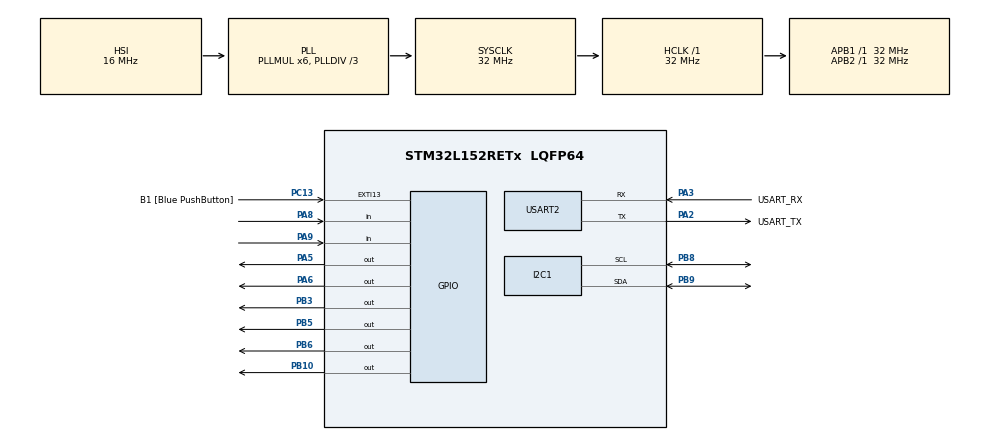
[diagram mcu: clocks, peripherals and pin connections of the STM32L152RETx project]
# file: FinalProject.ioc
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Mcu.Family=STM32L1
Mcu.Name=STM32L152RETx
Mcu.Package=LQFP64
NVIC.EXTI15_10_IRQn=true\:0\:0\:false\:false\:true\:true\:true\:true
NVIC.I2C1_ER_IRQn=true\:0\:0\:false\:false\:true\:true\:true\:true
NVIC.I2C1_EV_IRQn=true\:0\:0\:false\:false\:true\:true\:true\:true
NVIC.PriorityGroup=NVIC_PRIORITYGROUP_0
NVIC.TIM3_IRQn=true\:0\:0\:false\:false\:true\:true\:true\:true
PA13.GPIO_Label=TMS
PA13.Mode=Serial_Wire
PA13.Signal=SYS_JTMS-SWDIO
PA14.GPIO_Label=TCK
PA14.Mode=Serial_Wire
PA14.Signal=SYS_JTCK-SWCLK
PA2.GPIO_Label=USART_TX
PA2.Mode=Asynchronous
PA2.Signal=USART2_TX
PA3.GPIO_Label=USART_RX
PA3.Mode=Asynchronous
PA3.Signal=USART2_RX
PA5.GPIO_PuPd=GPIO_PULLUP
PA5.Signal=GPIO_Output
PA6.Signal=GPIO_Output
PA8.GPIO_PuPd=GPIO_PULLDOWN
PA8.Signal=GPIO_Input
PA9.GPIO_PuPd=GPIO_PULLDOWN
PA9.Signal=GPIO_Input
PB10.Signal=GPIO_Output
PB3.Signal=GPIO_Output
PB5.Signal=GPIO_Output
PB6.Signal=GPIO_Output
PB8.GPIO_Pu=GPIO_NOPULL
PB8.Mode=I2C
PB8.Signal=I2C1_SCL
PB9.GPIO_Pu=GPIO_NOPULL
PB9.Mode=I2C
PB9.Signal=I2C1_SDA
PC13-WKUP2.GPIO_Label=B1 [Blue PushButton]
PC13-WKUP2.Signal=GPXTI13
PC14-OSC32_IN.Mode=LSE-External-Oscillator
PC14-OSC32_IN.Signal=RCC_OSC32_IN
PC15-OSC32_OUT.Mode=LSE-External-Oscillator
PC15-OSC32_OUT.Signal=RCC_OSC32_OUT
PH0-OSC_IN.Mode=HSE-External-Clock-Source
PH0-OSC_IN.Signal=RCC_OSC_IN
PH1-OSC_OUT.Signal=RCC_OSC_OUT
ProjectManager.HeapSize=0x200
ProjectManager.StackSize=0x400
ProjectManager.TargetToolchain=STM32CubeIDE
RCC.48MHZClocksFreq_Value=48000000
RCC.AHBFreq_Value=32000000
RCC.APB1Freq_Value=32000000
RCC.APB1TimFreq_Value=32000000
RCC.APB2Freq_Value=32000000
RCC.APB2TimFreq_Value=32000000
RCC.HCLKFreq_Value=32000000
RCC.HSE_VALUE=8000000
RCC.HSI_VALUE=16000000
RCC.MSI_VALUE=2097000
RCC.PLLDIV=RCC_PLL_DIV3
RCC.PLLMUL=RCC_PLL_MUL6
RCC.RTCClockSelectionVirtual=RCC_RTCCLKSOURCE_LSE
RCC.SYSCLKFreq_VALUE=32000000
RCC.SYSCLKSource=RCC_SYSCLKSOURCE_PLLCLK
RCC.USBOutput=48000000
RCC.VCOOutputFreq_Value=96000000
TIM3.Prescaler=31
USART2.VirtualMode=VM_ASYNC
VP_TIM3_VS_ClockSourceINT.Mode=Internal
board=NUCLEO-L152RE

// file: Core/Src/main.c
/* USER CODE BEGIN Header */
// @author Tristan Huynh
/* USER CODE END Header */
#include "main.h"

/* USER CODE BEGIN Includes */
#include "dht22.h"
#include "rgb_led.h"
#include <stdio.h>
#include <string.h>

#include "ssd1306.h"
#include "ssd1306_fonts.h"
#include "fan_control.h"
/* USER CODE END Includes */

I2C_HandleTypeDef hi2c1;

TIM_HandleTypeDef htim3;

UART_HandleTypeDef huart2;

/* USER CODE BEGIN PV */
#define GRAPH_HISTORY 120  // Number of data points to store
#define SERIAL_INTERVAL 30000 // 5 sconds
#define DATA_COLLECTION_INERVAL 30000 // 5 seconds
#define BLINK_INTERVAL 500  // 500ms blink interval

#define ALERT_TEMPERATURE_THRESHOLD 25.0f
#define ALERT_HUMIDITY_THRESHOLD 50.0f

float temp_history[GRAPH_HISTORY] = {0};
float humid_history[GRAPH_HISTORY] = {0};
uint8_t temp_index = 0;
uint8_t humid_index = 0;

uint8_t fan_status = 0;
uint8_t temperature_threshold = 20;
uint8_t humidity_threshold = 50;
uint8_t fan_speed = 0; // 0-100% // might need to be removed
uint8_t alert_condition = 0; // 0 = no alert, 1 = temp alert, 2 = humidity alert
uint8_t led_state = 0;

uint32_t last_serial_transmission = 0;
uint32_t last_data_collection = 0;

uint32_t last_blink_time = 0;
uint8_t blink_state = 0;

uint8_t led_override = 0; // 0 = normal, 1 = force off

volatile  uint8_t screen = 0;
/* USER CODE END PV */

void SystemClock_Config(void);
static void MX_GPIO_Init(void);
static void MX_USART2_UART_Init(void);
static void MX_I2C1_Init(void);
static void MX_TIM3_Init(void);

/* USER CODE BEGIN 0 */
void drawLineGraph(float* data, uint8_t length, uint8_t y_offset, uint8_t graph_height, float min_val, float max_val) {
    uint8_t y_axis_x = 22;  // Leave 22 pixels for labels
    uint8_t x_axis_y = y_offset + graph_height - 1;

    // x-axis
    for(int i = y_axis_x; i < 128; i++) {
      ssd1306_DrawPixel(i, x_axis_y, White);
    }

    // y-axis
    for(int i = y_offset; i < y_offset + graph_height; i++) {
      ssd1306_DrawPixel(y_axis_x, i, White);
    }

    char label[6];
    uint8_t num_ticks = 5;

    for(uint8_t i = 0; i < num_ticks; i++) {
      float value = max_val - (i * (max_val - min_val) / (num_ticks - 1));
      uint8_t tick_y = y_offset + (i * (graph_height - 1) / (num_ticks - 1));

      // draw tick mark
      ssd1306_Line(y_axis_x - 2, tick_y, y_axis_x, tick_y, White);

      int value_int = (int)value;
      sprintf(label, "%d", value_int);

      // ensure label doesn't go above screen bounds
      uint8_t label_y = tick_y;
      if (label_y < 4) label_y = 4;
      if (label_y > 60) label_y = 60;

      ssd1306_SetCursor(0, label_y - 4);
      ssd1306_WriteString(label, Font_6x8, White);
    }

    // Calculate X scaling
    float x_scale = (128.0f - y_axis_x - 1) / (length - 1);

    // only if we have valid data
    for(int i = 0; i < length - 1; i++) {
        if (data[i] == 0.0f && data[i+1] == 0.0f) continue; // skip if no data

        uint8_t y1 = y_offset + graph_height - 2 - (uint8_t)((data[i] - min_val) / (max_val - min_val) * (graph_height - 3));
        uint8_t y2 = y_offset + graph_height - 2 - (uint8_t)((data[i+1] - min_val) / (max_val - min_val) * (graph_height - 3));

        uint8_t x1 = y_axis_x + (uint8_t)(i * x_scale);
        uint8_t x2 = y_axis_x + (uint8_t)((i + 1) * x_scale);

        // Clamp Y values
        if (y1 < y_offset) y1 = y_offset;
        if (y1 >= y_offset + graph_height) y1 = y_offset + graph_height - 1;
        if (y2 < y_offset) y2 = y_offset;
        if (y2 >= y_offset + graph_height) y2 = y_offset + graph_height - 1;

        ssd1306_Line(x1, y1, x2, y2, White);
    }
}

void sendDataUART(float temperature, float humidity, uint8_t fan_status, uint8_t alert_condition) {
  char tx_buffer[256];
  uint32_t timestamp = HAL_GetTick();
  int temp_int = (int)temperature;
  int temp_dec = (int)((temperature - temp_int) * 100);
  int humid_int = (int)humidity;
  int humid_dec = (int)((humidity - humid_int) * 100);

  sprintf(tx_buffer, "{\"timestamp\":%lu,\"temperature\":%d.%02d,\"humidity\":%d.%02d,\"fan_status\":%d,\"alert_condition\":%d}\r\n",
    timestamp, temp_int, temp_dec, humid_int, humid_dec, fan_status, alert_condition);

  HAL_UART_Transmit(&huart2, (uint8_t*)tx_buffer, strlen(tx_buffer), 1000);
}

void collectSensorData(float temperature, float humidity) {
  if (temperature != -999.0f && humidity != -999.0f) {

    temp_history[temp_index] = temperature;
    humid_history[humid_index] = humidity;
  }
  temp_index = (temp_index + 1) % GRAPH_HISTORY;
  humid_index = (humid_index + 1) % GRAPH_HISTORY;
}
/* USER CODE END 0 */

int main(void)
{

  /* MCU Configuration--------------------------------------------------------*/

  /* Reset of all peripherals, Initializes the Flash interface and the Systick. */
  HAL_Init();

  /* Configure the system clock */
  SystemClock_Config();

  /* Initialize all configured peripherals */
  MX_GPIO_Init();
  MX_USART2_UART_Init();
  MX_I2C1_Init();
  MX_TIM3_Init();
  /* USER CODE BEGIN 2 */
  // HAL_TIM_PWM_Start(&htim3, TIM_CHANNEL_1);
  HAL_TIM_Base_Start(&htim3);

  RGB_Init();
  DHT22_Init(&htim3);
  FAN_Init();

  // TODO: Remove when done debugging
  uint8_t found_devices = 0;
  for(uint8_t addr = 0; addr < 128; addr++) {
      if (HAL_I2C_IsDeviceReady(&hi2c1, (addr << 1), 3, 100) == HAL_OK) {
          // Device found - blink green once
          RGB_SetRGB(0, 255, 0);
          HAL_Delay(500);
          RGB_SetRGB(0, 0, 0);
          HAL_Delay(500);
          found_devices++;
      }
  }
  if (found_devices == 0) {
      for(int i = 0; i < 5; i++) {
          RGB_SetRGB(255, 0, 0);
          HAL_Delay(200);
          RGB_SetRGB(0, 0, 0);
          HAL_Delay(200);
      }
  }

  ssd1306_Init();
  HAL_Delay(2000);

  // initalize motor controller code
  // HAL_GPIO_WritePin(GPIOC, GPIO_PIN_3, GPIO_PIN_SET);    // IN1 = HIGH PC7
  // HAL_GPIO_WritePin(GPIOA, GPIO_PIN_10, GPIO_PIN_RESET);  // IN2 = LOW PA9

  // HAL_GPIO_WritePin(GPIOA, GPIO_PIN_11, GPIO_PIN_SET);   // EN = HIGH PA11

  /* USER CODE END 2 */

  /* Infinite loop */
  while (1)
  {

    /* USER CODE BEGIN 3 */
    float temperature = 0.0f;
    float humidity = 0.0f;
    char buffer[32];
    uint32_t current_time = HAL_GetTick();

    DHT22_ReadData(&temperature, &humidity);
    // handle data collection
    if (current_time - last_data_collection >= DATA_COLLECTION_INERVAL) {
        collectSensorData(temperature, humidity);
        last_data_collection = current_time;
    }
    // handle blinking
    if (current_time - last_blink_time >= BLINK_INTERVAL) {
        blink_state = !blink_state;
        last_blink_time = current_time;
    }
    // alert states
    if (temperature > ALERT_TEMPERATURE_THRESHOLD && humidity > ALERT_HUMIDITY_THRESHOLD) {
        alert_condition = 3; // both
        fan_status = 1; // turn on fan
    } else if (temperature > ALERT_TEMPERATURE_THRESHOLD) {
        alert_condition = 1; // temp
        fan_status = 1; // turn on fan
    } else if (humidity > ALERT_HUMIDITY_THRESHOLD) {
        alert_condition = 2; // humidity
        fan_status = 1; // turn on fan
    } else {
        led_override = 0;
        alert_condition = 0; // no alert
        fan_status = 0; // turn off fan
    }

    // collect data in database
    if (current_time - last_serial_transmission >= SERIAL_INTERVAL) {
        if (temperature != -999.0f && humidity != -999.0f) {
            sendDataUART(temperature, humidity, fan_status, alert_condition);
        }
        last_serial_transmission = current_time;
    }

    // button advancing
    // if (HAL_GPIO_ReadPin(BUTTON_R_PORT, BUTTON_R_PIN) == GPIO_PIN_RESET) {
    //   screen++;
    //   if (screen > 4) {
    //     screen = 0;
    //   }
    // }
    // if (HAL_GPIO_ReadPin(BUTTON_L_PORT, BUTTON_L_PIN) == GPIO_PIN_RESET) {
    //   screen--;
    //   if (screen > 4) {
    //     screen = 4;
    //   }
    // }

    if ((HAL_GPIO_ReadPin(BUTTON_L_PORT, BUTTON_L_PIN) == GPIO_PIN_SET && HAL_GPIO_ReadPin(BUTTON_R_PORT, BUTTON_R_PIN) == GPIO_PIN_SET) && alert_condition > 0) {
      led_override = 1; // turn off LED
    }

    if (led_override == 1) {
       RGB_Off();
    } else {
      if (alert_condition > 0 && blink_state) {
        // if (alert_condition == 3 && blink_state) {
        // } else
        RGB_SetRGB(255, 0, 0); // red when blinking on
      } else if (alert_condition > 0 && !blink_state) {
        RGB_Off(); // off when blinking off
      } else {
        RGB_SetRGB(0, 255, 0); // green for normal
      }
    }

    // fan control
    if (fan_status == 1) {
      FAN_setSpeed(1); // full speed
    } else {
      FAN_setSpeed(0); // off
    }

    // screen displays
    if (screen == 0) {
      ssd1306_Fill(Black);
      ssd1306_SetCursor(0, 0);
      ssd1306_WriteString("1", Font_6x8, White);

      ssd1306_SetCursor(18, 0);
      ssd1306_WriteString("Current", Font_7x10, White);
        // use integers for display
      int temp_int = (int)temperature;
      int temp_dec = (int)((temperature - temp_int) * 10);
      int hum_int = (int)humidity;
      int hum_dec = (int)((humidity - hum_int) * 10);

      ssd1306_SetCursor(0, 15);
      if ((alert_condition == 1 || alert_condition == 3) && blink_state) {
        sprintf(buffer, "!TEMP: %d.%dC!", temp_int, temp_dec);
      } else {
        sprintf(buffer, "Temp: %d.%dC", temp_int, temp_dec);
      }
      // sprintf(buffer, "Temp: %d.%dC", temp_int, temp_dec);
      ssd1306_WriteString(buffer, Font_7x10, White);

      ssd1306_SetCursor(0, 30);
      if ((alert_condition == 2 || alert_condition == 3) && blink_state) {
          sprintf(buffer, "!HUMID: %d.%d%%!", hum_int, hum_dec);
      } else {
          sprintf(buffer, "Humid: %d.%d%%", hum_int, hum_dec);
      }
      // sprintf(buffer, "Humid: %d.%d%%", hum_int, hum_dec);
      ssd1306_WriteString(buffer, Font_7x10, White);

      ssd1306_SetCursor(0, 45);
      if (fan_status == 1) {
        sprintf(buffer, "Fan: ON");
      } else {
        sprintf(buffer, "Fan: OFF");
      }
      // sprintf(buffer, "Fan: %d", fan_speed);
      ssd1306_WriteString(buffer, Font_6x8, White);
    } else if (screen == 2) {
      // temp_history[temp_index] = temperature;
      // temp_index = (temp_index + 1) % GRAPH_HISTORY;

      ssd1306_Fill(Black);

      ssd1306_SetCursor(0, 0);
      ssd1306_WriteString("2", Font_6x8, White);
      ssd1306_SetCursor(18, 0);
      ssd1306_WriteString("Temp (C)", Font_7x10, White);
      drawLineGraph(temp_history, GRAPH_HISTORY, 12, 50, 10.0f, 40.0f);
      int temp_int = (int)temperature;
      int temp_dec = (int)((temperature - temp_int) * 10);
      ssd1306_SetCursor(90, 0);
      if ((alert_condition == 1 || alert_condition == 3) && blink_state) {
          sprintf(buffer, "!%d.%d!", temp_int, temp_dec);
      } else {
          sprintf(buffer, "%d.%d", temp_int, temp_dec);
      }
      // sprintf(buffer, "%d.%d%%", temp_int, temp_dec);
      ssd1306_WriteString(buffer, Font_6x8, White);
    } else if (screen == 3) {
      // humid_history[humid_index] = humidity;
      // humid_index = (humid_index + 1) % GRAPH_HISTORY;

      ssd1306_Fill(Black);

      ssd1306_SetCursor(0, 0);
      ssd1306_WriteString("3", Font_6x8, White);

      ssd1306_SetCursor(18, 0);
      ssd1306_WriteString("Humid (%)", Font_7x10, White);
      drawLineGraph(humid_history, GRAPH_HISTORY, 12, 50, 0.0f, 100.0f);
      int hum_int = (int)humidity;
      int hum_dec = (int)((humidity - hum_int) * 10);

      ssd1306_SetCursor(90, 0);
      if ((alert_condition == 2 || alert_condition == 3) && blink_state) {
          sprintf(buffer, "!%d.%d!", hum_int, hum_dec);
      } else {
          sprintf(buffer, "%d.%d", hum_int, hum_dec);
      }
      // sprintf(buffer, "%d.%d%%", hum_int, hum_dec);
      ssd1306_WriteString(buffer, Font_6x8, White);
    } else if (screen == 4) {
      ssd1306_Fill(Black);
      ssd1306_SetCursor(0, 0);
      ssd1306_WriteString("4", Font_6x8, White);
      ssd1306_SetCursor(18, 0);
      ssd1306_WriteString("Fan Control", Font_7x10, White);

      ssd1306_SetCursor(0, 15);
      sprintf(buffer, "Speed: %s", "FULL");
      ssd1306_WriteString(buffer, Font_7x10, White);

      ssd1306_SetCursor(0, 30);
      if (fan_status == 1) {
        sprintf(buffer, "Status: ON");
      } else {
        sprintf(buffer, "Status: OFF");
      }
      ssd1306_WriteString(buffer, Font_7x10, White);
    }
    ssd1306_UpdateScreen();
    HAL_Delay(100);
  }

  /* USER CODE END 3 */
}

void SystemClock_Config(void)
{
  RCC_OscInitTypeDef RCC_OscInitStruct = {0};
  RCC_ClkInitTypeDef RCC_ClkInitStruct = {0};

  /** Configure the main internal regulator output voltage
  */
  __HAL_PWR_VOLTAGESCALING_CONFIG(PWR_REGULATOR_VOLTAGE_SCALE1);

  /** Initializes the RCC Oscillators according to the specified parameters
  * in the RCC_OscInitTypeDef structure.
  */
  RCC_OscInitStruct.OscillatorType = RCC_OSCILLATORTYPE_HSI;
  RCC_OscInitStruct.HSIState = RCC_HSI_ON;
  RCC_OscInitStruct.HSICalibrationValue = RCC_HSICALIBRATION_DEFAULT;
  RCC_OscInitStruct.PLL.PLLState = RCC_PLL_ON;
  RCC_OscInitStruct.PLL.PLLSource = RCC_PLLSOURCE_HSI;
  RCC_OscInitStruct.PLL.PLLMUL = RCC_PLL_MUL6;
  RCC_OscInitStruct.PLL.PLLDIV = RCC_PLL_DIV3;
  if (HAL_RCC_OscConfig(&RCC_OscInitStruct) != HAL_OK)
  {
    Error_Handler();
  }

  /** Initializes the CPU, AHB and APB buses clocks
  */
  RCC_ClkInitStruct.ClockType = RCC_CLOCKTYPE_HCLK|RCC_CLOCKTYPE_SYSCLK
                              |RCC_CLOCKTYPE_PCLK1|RCC_CLOCKTYPE_PCLK2;
  RCC_ClkInitStruct.SYSCLKSource = RCC_SYSCLKSOURCE_PLLCLK;
  RCC_ClkInitStruct.AHBCLKDivider = RCC_SYSCLK_DIV1;
  RCC_ClkInitStruct.APB1CLKDivider = RCC_HCLK_DIV1;
  RCC_ClkInitStruct.APB2CLKDivider = RCC_HCLK_DIV1;

  if (HAL_RCC_ClockConfig(&RCC_ClkInitStruct, FLASH_LATENCY_1) != HAL_OK)
  {
    Error_Handler();
  }
}

static void MX_I2C1_Init(void)
{

  hi2c1.Instance = I2C1;
  hi2c1.Init.ClockSpeed = 100000;
  hi2c1.Init.DutyCycle = I2C_DUTYCYCLE_2;
  hi2c1.Init.OwnAddress1 = 0;
  hi2c1.Init.AddressingMode = I2C_ADDRESSINGMODE_7BIT;
  hi2c1.Init.DualAddressMode = I2C_DUALADDRESS_DISABLE;
  hi2c1.Init.OwnAddress2 = 0;
  hi2c1.Init.GeneralCallMode = I2C_GENERALCALL_DISABLE;
  hi2c1.Init.NoStretchMode = I2C_NOSTRETCH_DISABLE;
  if (HAL_I2C_Init(&hi2c1) != HAL_OK)
  {
    Error_Handler();
  }

}

static void MX_TIM3_Init(void)
{

  TIM_ClockConfigTypeDef sClockSourceConfig = {0};
  TIM_MasterConfigTypeDef sMasterConfig = {0};

  htim3.Instance = TIM3;
  htim3.Init.Prescaler = 31;
  htim3.Init.CounterMode = TIM_COUNTERMODE_UP;
  htim3.Init.Period = 65535;
  htim3.Init.ClockDivision = TIM_CLOCKDIVISION_DIV1;
  htim3.Init.AutoReloadPreload = TIM_AUTORELOAD_PRELOAD_DISABLE;
  if (HAL_TIM_Base_Init(&htim3) != HAL_OK)
  {
    Error_Handler();
  }
  sClockSourceConfig.ClockSource = TIM_CLOCKSOURCE_INTERNAL;
  if (HAL_TIM_ConfigClockSource(&htim3, &sClockSourceConfig) != HAL_OK)
  {
    Error_Handler();
  }
  sMasterConfig.MasterOutputTrigger = TIM_TRGO_RESET;
  sMasterConfig.MasterSlaveMode = TIM_MASTERSLAVEMODE_DISABLE;
  if (HAL_TIMEx_MasterConfigSynchronization(&htim3, &sMasterConfig) != HAL_OK)
  {
    Error_Handler();
  }

}

static void MX_USART2_UART_Init(void)
{

  huart2.Instance = USART2;
  huart2.Init.BaudRate = 115200;
  huart2.Init.WordLength = UART_WORDLENGTH_8B;
  huart2.Init.StopBits = UART_STOPBITS_1;
  huart2.Init.Parity = UART_PARITY_NONE;
  huart2.Init.Mode = UART_MODE_TX_RX;
  huart2.Init.HwFlowCtl = UART_HWCONTROL_NONE;
  huart2.Init.OverSampling = UART_OVERSAMPLING_16;
  if (HAL_UART_Init(&huart2) != HAL_OK)
  {
    Error_Handler();
  }

}

static void MX_GPIO_Init(void)
{
  GPIO_InitTypeDef GPIO_InitStruct = {0};

  /* GPIO Ports Clock Enable */
  __HAL_RCC_GPIOC_CLK_ENABLE();
  __HAL_RCC_GPIOH_CLK_ENABLE();
  __HAL_RCC_GPIOA_CLK_ENABLE();
  __HAL_RCC_GPIOB_CLK_ENABLE();

  /*Configure GPIO pin Output Level */
  HAL_GPIO_WritePin(GPIOA, GPIO_PIN_5|GPIO_PIN_6, GPIO_PIN_RESET);

  /*Configure GPIO pin Output Level */
  HAL_GPIO_WritePin(GPIOB, GPIO_PIN_10|GPIO_PIN_3|GPIO_PIN_5|GPIO_PIN_6, GPIO_PIN_RESET);

  /*Configure GPIO pin : B1_Pin */
  GPIO_InitStruct.Pin = B1_Pin;
  GPIO_InitStruct.Mode = GPIO_MODE_IT_RISING;
  GPIO_InitStruct.Pull = GPIO_NOPULL;
  HAL_GPIO_Init(B1_GPIO_Port, &GPIO_InitStruct);

  /*Configure GPIO pin : PA5 */
  GPIO_InitStruct.Pin = GPIO_PIN_5;
  GPIO_InitStruct.Mode = GPIO_MODE_OUTPUT_PP;
  GPIO_InitStruct.Pull = GPIO_PULLUP;
  GPIO_InitStruct.Speed = GPIO_SPEED_FREQ_LOW;
  HAL_GPIO_Init(GPIOA, &GPIO_InitStruct);

  /*Configure GPIO pin : PA6 */
  GPIO_InitStruct.Pin = GPIO_PIN_6;
  GPIO_InitStruct.Mode = GPIO_MODE_OUTPUT_PP;
  GPIO_InitStruct.Pull = GPIO_NOPULL;
  GPIO_InitStruct.Speed = GPIO_SPEED_FREQ_LOW;
  HAL_GPIO_Init(GPIOA, &GPIO_InitStruct);

  /*Configure GPIO pins : PB10 PB3 PB5 PB6 */
  GPIO_InitStruct.Pin = GPIO_PIN_10|GPIO_PIN_3|GPIO_PIN_5|GPIO_PIN_6;
  GPIO_InitStruct.Mode = GPIO_MODE_OUTPUT_PP;
  GPIO_InitStruct.Pull = GPIO_NOPULL;
  GPIO_InitStruct.Speed = GPIO_SPEED_FREQ_LOW;
  HAL_GPIO_Init(GPIOB, &GPIO_InitStruct);

  /*Configure GPIO pins : PA8 PA9 */
  GPIO_InitStruct.Pin = GPIO_PIN_8|GPIO_PIN_9;
  GPIO_InitStruct.Mode = GPIO_MODE_IT_FALLING;
  GPIO_InitStruct.Pull = GPIO_PULLDOWN;
  HAL_GPIO_Init(GPIOA, &GPIO_InitStruct);

  /* EXTI interrupt init*/
  HAL_NVIC_SetPriority(EXTI15_10_IRQn, 0, 0);
  HAL_NVIC_EnableIRQ(EXTI15_10_IRQn);

  /* USER CODE BEGIN MX_GPIO_Init_2 */
  HAL_NVIC_SetPriority(EXTI9_5_IRQn, 0, 0);
  HAL_NVIC_EnableIRQ(EXTI9_5_IRQn);
  /* USER CODE END MX_GPIO_Init_2 */
}

/* USER CODE BEGIN 4 */
void HAL_GPIO_EXTI_Callback(uint16_t GPIO_Pin)
{
  if (GPIO_Pin == BUTTON_R_PIN) {
    // Right button pressed - advance screen
    screen++;
    if (screen > 4) {
      screen = 0;
    }
  }
  else if (GPIO_Pin == BUTTON_L_PIN) {
    // Left button pressed - go back screen
    screen--;
    if (screen > 4) {  // Underflow check (since screen is uint8_t)
      screen = 4;
    }
  }
}
/* USER CODE END 4 */

void Error_Handler(void)
{
}
